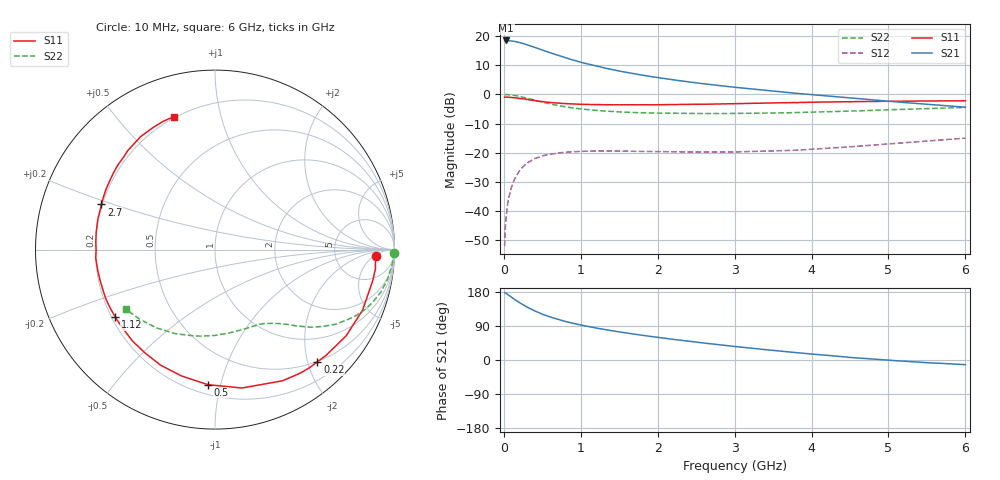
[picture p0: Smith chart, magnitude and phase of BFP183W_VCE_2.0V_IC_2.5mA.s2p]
! Infineon Technologies  Discrete & RF Semiconductors
! BFP183W
! VCE = 2.0 V,  IC =  2.5 mA
! Common Emitter S-Parameters:  Jan 2016
# GHz  S  MA  R  50
!  f  S11  S21  S12  S22
! GHz  MAG  ANG  MAG  ANG  MAG  ANG  MAG  ANG
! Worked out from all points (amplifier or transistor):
!   210 points, 10 MHz to 6 GHz, reference 50 ohm
!   highest |S21| = 18.5 dB at 30 MHz (marker M1)
!   |S21| within 3 dB of that: start of sweep to 469.1 MHz
!   unconditionally stable (mu >= 1): 2.208 GHz to end of sweep
!   at 185 MHz: K = 0.10, MSG = 22.4 dB, |S12| = -27.0 dB
!   at 1.52 GHz: K = 0.72, MSG = 13.7 dB, |S12| = -19.5 dB
!   at 6 GHz: K = 1.01, MAG = 4.6 dB, |S12| = -15.0 dB
!   S11 on the Smith chart (normalised r, x): 10 MHz: 17, -6; 220 MHz: 0.49, -2.17; 500 MHz: 0.26, -0.91; 1.12 GHz: 0.22, -0.29; 2.7 GHz: 0.20, +0.18; 6 GHz: 0.19, +0.72
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0.01  0.9001 -2.2  8.347 177.9  0.0025 90.5  0.996 -1.0
0.02  0.8966 -4.5  8.389 177.2  0.0054 88.4  0.9905 -2.0
0.03  0.9002 -6.9  8.402 175.8  0.008 87.5  0.9938 -2.9
0.08  0.8874 -17.9  8.272 168.5  0.0207 78.7  0.9807 -7.8
0.15  0.8745 -33.3  8.055 158.5  0.0374 71.3  0.9545 -14.3
0.22  0.8465 -47.6  7.634 149.5  0.0519 63.7  0.9137 -20.0
0.3  0.8223 -62.7  7.093 139.8  0.0661 55.8  0.8613 -25.7
0.4  0.7856 -79.0  6.418 129.7  0.079 47.8  0.7957 -31.4
0.5  0.7536 -93.0  5.761 120.8  0.0882 41.4  0.7365 -35.6
0.6  0.7282 -104.9  5.183 113.6  0.0944 36.1  0.6867 -39.0
0.7  0.7117 -115.2  4.696 107.3  0.0988 32.0  0.6456 -41.5
0.86  0.6884 -128.8  4.024 98.8  0.1032 26.8  0.5951 -44.9
1.02  0.6751 -139.9  3.498 91.5  0.1057 22.9  0.5594 -47.8
1.12  0.6705 -145.9  3.246 87.5  0.1066 21.0  0.5429 -49.3
1.3  0.6674 -155.5  2.849 80.7  0.1071 18.4  0.5194 -52.2
1.5  0.6625 -164.1  2.511 74.2  0.1063 16.6  0.5001 -55.3
2.02  0.665 176.8  1.923 59.3  0.1045 15.1  0.4772 -63.4
2.7  0.6808 158.3  1.466 42.5  0.1025 17.7  0.4695 -75.6
3.1  0.6968 148.9  1.285 33.7  0.1039 20.4  0.4723 -83.7
4.1  0.7376 129.8  0.966 14.1  0.1169 28.6  0.4979 -106.0
5.1  0.7636 116.0  0.744 -1.9  0.1443 32.8  0.5488 -129.1
6  0.7757 107.1  0.603 -12.3  0.1776 32.5  0.5978 -146.4
